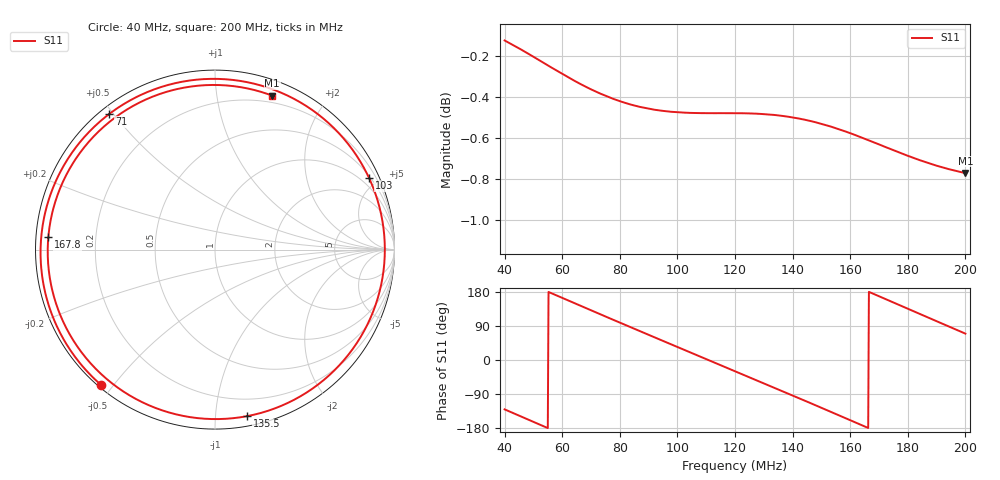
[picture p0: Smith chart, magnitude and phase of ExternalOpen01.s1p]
# Hz S RI R 50
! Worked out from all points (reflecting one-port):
!   641 points, 40 MHz to 200 MHz, reference 50 ohm
!   lowest |S11| = -0.8 dB at 200 MHz (marker M1), VSWR 22.55, Z = 6.78 + j71.5 ohm
!   phase of S11 starts at -130 deg and turns -520 deg over the sweep
!   S11 on the Smith chart (normalised r, x): 40 MHz: 0.01, -0.46; 71 MHz: 0.03, +0.49; 103 MHz: 0.58, +4.47; 135.5 MHz: 0.07, -1.21; 167.8 MHz: 0.04, +0.04; 200 MHz: 0.14, +1.43
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4e7  -0.6372 -0.7519
4.55e7  -0.8352 -0.5142
5.025e7  -0.9387 -0.2687
5.5e7  -0.9719 -0.00577
6e7  -0.9294 0.2681
6.525e7  -0.8046 0.5286
7.1e7  -0.5888 0.756
8e7  -0.1437 0.9417
8.475e7  0.1104 0.944
8.95e7  0.3548 0.88
9.45e7  0.5833 0.7467
1e8  0.781 0.5351
1.03e8  0.859 0.3976
1.115e8  0.9455 -0.0373
1.2e8  0.8247 -0.4641
1.2825e8  0.5321 -0.7821
1.355e8  0.1791 -0.9279
1.4e8  -0.0594 -0.9421
1.4925e8  -0.5214 -0.7832
1.5475e8  -0.7357 -0.5826
1.6e8  -0.8726 -0.3378
1.6775e8  -0.9286 0.0703
1.7375e8  -0.8468 0.3788
1.8e8  -0.6567 0.6499
1.85e8  -0.4442 0.8071
1.9e8  -0.197 0.8975
1.9475e8  0.0514 0.9154
2e8  0.319 0.8577
